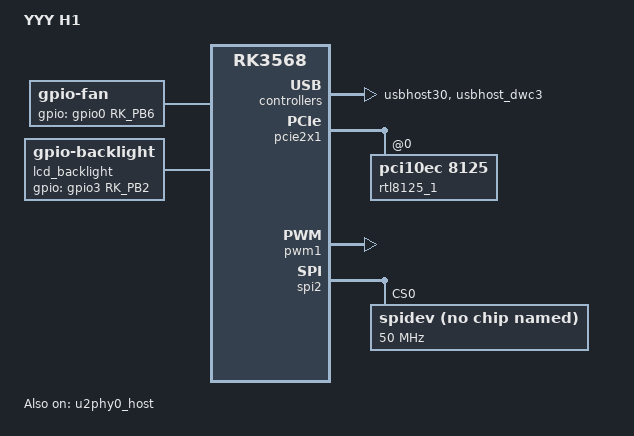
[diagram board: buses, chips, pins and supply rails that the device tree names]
/dts-v1/;

#include "rk3568-linkease.dtsi"
#include "rk3568-linkease-pcie30.dtsi"
#include "../rockchip-drm-vvop.dtsi"

/ {
	compatible = "yyy,h1", "rockchip,rk3568";
	model = "YYY H1";
	aliases {
		lcd-backlight = &lcd_backlight;
	};

	pwm-fan {
		compatible = "pwm-fan";
		cooling-levels = <0 0x66 0x88 0xaa 0xcc 0xff>;
		#cooling-cells = <2>;
		fan-supply = <&vcc5v0_sys>;
		pwms = <&pwm2 0 50000 0>;
		status = "disabled";
	};

	fan: gpio-fan {
		compatible = "gpio-fan";
		gpios = <&gpio0 RK_PB6 GPIO_ACTIVE_HIGH>;
		#cooling-cells = <2>;
		gpio-fan,speed-map =
			   <0 0>,
			<1000 0>,
			<2000 1>,
			<3000 1>,
			<4000 1>,
			<5000 1>;
	};

	lcd_backlight: lcd-backlight {
		compatible = "gpio-backlight";
		gpios = <&gpio3 RK_PB2 GPIO_ACTIVE_HIGH>;
	};
};

// USB2 PHY0 port1 USB3_HOST1_D
&u2phy0_host {
	status = "okay";
};

// MULTI_PHY1
// USB3_HOST1 phy &u2phy0_host
&usbhost30 {
	status = "okay";
};

&usbhost_dwc3 {
	status = "okay";
};

// MULTI_PHY2
&pcie2x1 {
	status = "okay";

	pcie@00 {
		reg = <0x00000000 0 0 0 0>;
		#address-cells = <3>;
		#size-cells = <2>;

		rtl8125_1: pcie-eth@10,0 {
			compatible = "pci10ec,8125";
			reg = <0x000000 0 0 0 0>;

			realtek,led-data = <0x22b>;
		};
	};
};

&pwm_leds {
	led-blue {
		label = "blue";
		pwms = <&pwm1 0 50000 0>;
		max-brightness = <255>;
	};
};

&pwm1 {
	status = "okay";
};

&pwm2 {
	pinctrl-0 = <&pwm2m1_pins>;
	status = "disabled";
};

&spi2 {
	num-cs = <1>;
	pinctrl-0 = <&spi2m1_cs0 &spi2m1_pins>;
	pinctrl-1 = <&spi2m1_cs0 &spi2m1_pins_hs>;
	status = "okay";
	lcd@0 {
		status = "disabled";
		compatible = "sitronix,st7789v";
		reg = <0>;
		spi-max-frequency = <32000000>;   //SPI时钟32M
		// spi-cpol;
		// spi-cpha;
		rotate = <90>;                    //屏幕旋转90度
		// width = <172>;
		// height = <320>;
		rgb;                           //颜色格式RGB
		fps = <30>;                      //刷新30帧率
		// regwidth = <8>;
		buswidth = <8>;                   //总线宽度8
		pinctrl-names = "default";
		pinctrl-0 = <&spi_lcd_pins>;
		reset-gpios = <&gpio3 RK_PB3 GPIO_ACTIVE_LOW>;
		dc-gpios = <&gpio3 RK_PB4 GPIO_ACTIVE_HIGH>;
		debug = <0>;                     //不开启调试
		backlight = <&lcd_backlight>;
		power-supply = <&vcc3v3_sys>;
	};
	spidev@0 {
		compatible = "rockchip,spidev";
		reg = <0>;
		spi-max-frequency = <50000000>;
		pinctrl-names = "default";
		pinctrl-0 = <&spi_lcd_pins>;
		status = "okay";
	};
};

&soc_thermal {
	trips {
		cpu_warm: cpu_warm {
			temperature = <50000>;
			hysteresis = <3000>;
			type = "active";
		};

		cpu_hot: cpu_hot {
			temperature = <60000>;
			hysteresis = <3000>;
			type = "active";
		};
	};

	cooling-maps {
		map2 {
			trip = <&cpu_warm>;
			cooling-device = <&fan THERMAL_NO_LIMIT 3>;
		};

		map3 {
			trip = <&cpu_hot>;
			cooling-device = <&fan 4 THERMAL_NO_LIMIT>;
		};
	};
};
